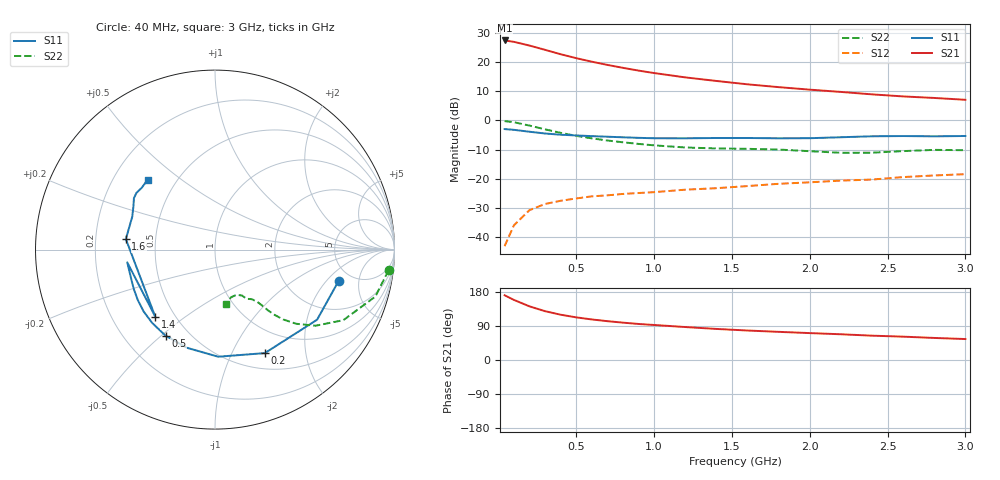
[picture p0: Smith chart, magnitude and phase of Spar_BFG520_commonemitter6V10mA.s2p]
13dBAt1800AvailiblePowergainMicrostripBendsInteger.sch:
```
<Qucs Schematic 0.0.20>
<Properties>
  <View=-46,-120,1759,920,0.898136,0,0>
  <Grid=10,10,1>
  <DataSet=13dBAt1800AvailiblePowergainMicrostripBendsInteger.dat>
  <DataDisplay=13dBAt1800AvailiblePowergainMicrostripBendsInteger.dpl>
  <OpenDisplay=1>
  <Script=13dBAt1800AvailiblePowergainMicrostripBendsInteger.m>
  <RunScript=0>
  <showFrame=0>
  <FrameText0=Title>
  <FrameText1=Drawn By:>
  <FrameText2=Date:>
  <FrameText3=Revision:>
</Properties>
<Symbol>
</Symbol>
<Components>
  <GND * 5 370 330 0 0 0 0>
  <SPfile X1 1 370 300 -26 -41 0 0 "/home/lasse/Documents/test M4/Spar_BFG520_commonemitter6V10mA.s2p" 0 "rectangular" 0 "linear" 0 "open" 0 "2" 0>
  <Eqn Eqn4 1 900 240 -31 19 0 0 "Delta=S[1,1]*S[2,2]-S[1,2]*S[2,1]" 1 "yes" 0>
  <Eqn Sparam1 1 300 10 -30 16 0 0 "S12dB=dB(S[1,2])" 1 "S12=(S[1,2])" 1 "S11dB=dB(S[1,1])" 1 "S11=(S[1,1])" 1 "S21dB=dB(S[2,1])" 1 "S21=(S[2,1])" 1 "S22dB=dB(S[2,2])" 1 "S22=(S[2,2])" 1 "yes" 0>
  <GND * 5 710 420 0 0 0 0>
  <Pac P2 1 710 340 18 -26 0 1 "2" 1 "50 Ohm" 1 "0 dBm" 0 "1 GHz" 0 "26.85" 0>
  <Pac P1 1 10 340 18 -26 0 1 "1" 1 "50 Ohm" 1 "0 dBm" 0 "1 GHz" 0 "26.85" 0>
  <GND * 5 10 410 0 0 0 0>
  <Eqn Eqn1 1 40 10 -31 19 0 0 "K=Rollet(S)" 1 "yes" 0>
  <MLIN MS1 1 40 150 -26 15 0 0 "Subst1" 1 "3 mm" 1 "8 mm" 1 "Hammerstad" 0 "Kirschning" 0 "26.85" 0>
  <MTEE MS5 1 150 298 -26 15 0 2 "Subst1" 1 "3 mm" 1 "3 mm" 1 "3 mm" 1 "Hammerstad" 0 "Kirschning" 0 "26.85" 0 "showNumbers" 0>
  <MLIN MS3 1 270 300 -26 15 0 0 "Subst1" 1 "3 mm" 1 "8 mm" 1 "Hammerstad" 0 "Kirschning" 0 "26.85" 0>
  <MLIN MS4 1 470 300 -26 15 0 0 "Subst1" 1 "3 mm" 1 "24 mm" 1 "Hammerstad" 0 "Kirschning" 0 "26.85" 0>
  <MTEE MS6 1 590 298 -26 15 0 2 "Subst1" 1 "3 mm" 1 "3 mm" 1 "3 mm" 1 "Hammerstad" 0 "Kirschning" 0 "26.85" 0 "showNumbers" 0>
  <MLIN MS2 1 690 140 -26 15 0 0 "Subst1" 1 "3 mm" 1 "11 mm" 1 "Hammerstad" 0 "Kirschning" 0 "26.85" 0>
  <Eqn Eqn5 1 1270 700 -31 19 0 0 "absDelta=abs(S[1,1]*S[2,2]-S[1,2]*S[2,1])" 1 "GammaOutdB=dB(abs(Gamma_Out))" 1 "yes" 0>
  <Eqn Eqn6 1 1290 630 -31 19 0 0 "GammaL=(B2-sqrt(B2^-4*abs(C2)^2))/(2*C2)" 1 "yes" 0>
  <Eqn Eqn3 1 870 360 -31 19 0 0 "B1=1+abs(S[1,1])^2-abs(S[2,2]-abs(Delta)^2)" 1 "B2=1+abs(S[2,2])^2-abs(S[1,1]-abs(Delta)^2)" 1 "C1=S[1,1]-Delta*conj(S[2,2])" 1 "C2=S[2,2]-Delta*conj(S[1,1])" 1 "GammaS=(B1-sqrt(B1^-4*abs(C1)^2))/(2*C1)" 1 "yes" 0>
  <SUBST Subst1 1 1480 460 -30 24 0 0 "4.4" 1 "1.6 mm" 1 "35 um" 1 "0.0018" 1 "0.022e-6" 1 "0.15e-6" 1>
  <Eqn Eqn8 1 1220 280 -31 19 0 0 "y=1" 1 "phase_GammaOut=phase(Gamma_Out)" 1 "phase_GammaIn=phase(Gamma_In)" 1 "phase_GammaS=phase(GammaS)" 1 "phase_GammaL=phase(GammaL)" 1 "yes" 0>
  <Eqn Eqn2 1 1020 180 -31 19 0 0 "GT=dB((abs(S[2,1])/abs(S[1,2]))*(K-sqrt(K^2-1)))" 1 "yes" 0>
  <Eqn Eqn7 1 1170 120 -31 19 0 0 "Gamma_Out=S[2,2]+S[1,2]*S[2,1]*GammaS/(1-S[2,2]*GammaS)" 1 "Gamma_In=S[1,1]+S[1,2]*S[2,1]*GammaL/(1-S[1,1]*GammaL)" 1 "yes" 0>
  <.SP SP1 1 430 10 0 81 0 0 "lin" 1 "40 MHz" 1 "3 GHz" 1 "21" 1 "yes" 0 "1" 1 "2" 0 "no" 0 "no" 0>
</Components>
<Wires>
  <300 300 340 300 "" 0 0 0 "">
  <710 370 710 420 "" 0 0 0 "">
  <400 300 440 300 "" 0 0 0 "">
  <10 370 10 410 "" 0 0 0 "">
  <10 310 10 340 "" 0 0 0 "">
  <10 300 10 310 "" 0 0 0 "">
  <10 300 120 300 "" 0 0 0 "">
  <120 298 120 300 "" 0 0 0 "">
  <180 300 240 300 "" 0 0 0 "">
  <180 298 180 300 "" 0 0 0 "">
  <560 298 560 300 "" 0 0 0 "">
  <500 300 560 300 "" 0 0 0 "">
  <620 298 620 300 "" 0 0 0 "">
  <710 310 710 340 "" 0 0 0 "">
  <710 300 710 310 "" 0 0 0 "">
  <620 300 710 300 "" 0 0 0 "">
  <590 140 660 140 "" 0 0 0 "">
  <590 140 590 268 "" 0 0 0 "">
  <150 150 150 268 "" 0 0 0 "">
  <70 150 150 150 "" 0 0 0 "">
  <590 268 590 270 "" 0 0 0 "">
</Wires>
<Diagrams>
  <Rect 100 700 240 160 3 #c0c0c0 1 00 1 0 1e+09 5e+09 1 -22.4075 20 20 1 -1 1 1 315 0 225 "" "" "" "">
	<"S11dB" #0000ff 0 3 0 0 0>
	  <Mkr 1.964e+09 -119 -238 3 0 0>
	<"S22dB" #ff0000 0 3 0 0 0>
	<"S21dB" #ff00ff 0 3 0 0 0>
	  <Mkr 1.964e+09 -90 42 3 0 0>
  </Rect>
  <Rect 820 710 240 160 3 #c0c0c0 1 00 1 1.75e+09 2e+07 1.85e+09 1 -100 100 100 1 -1 1 1 315 0 225 "" "" "" "">
	<"phase_GammaL" #ff0000 0 3 0 0 0>
	  <Mkr 1.964e+09 -10 80 3 0 0>
	<"phase_GammaOut" #ff00ff 0 3 0 0 0>
	  <Mkr 1.964e+09 190 81 3 0 0>
  </Rect>
  <Rect 427 695 240 160 3 #c0c0c0 1 00 1 1.75e+09 2e+07 1.85e+09 1 -11.6386 5 1.77023 1 -1 1 1 315 0 225 "" "" "" "">
	<"phase_GammaIn" #ff00ff 0 3 0 0 0>
	  <Mkr 1.964e+09 140 79 3 0 0>
	<"phase_GammaS" #ffff00 0 3 0 0 0>
	  <Mkr 1.964e+09 -70 77 3 0 0>
  </Rect>
  <Rect 790 120 240 160 3 #c0c0c0 1 00 1 0 0.2 1 1 -0.1 0.5 1.1 1 -0.1 0.5 1.1 315 0 225 "" "" "" "">
	<"F" #0000ff 0 3 0 0 0>
	  <Mkr 1.964e+09 -217 -182 3 0 0>
	<"Fmin" #ff0000 0 3 0 0 0>
	  <Mkr 1.964e+09 -217 -57 3 0 0>
	  <Mkr 1.964e+09 270 -93 3 0 0>
  </Rect>
  <Rect 1280 60 240 160 3 #c0c0c0 1 00 1 1.5e+09 5e+08 3e+09 1 0.302595 0.5 1.5 1 -1 1 1 315 0 225 "" "" "" "">
	<"K" #0000ff 0 3 0 0 0>
	<"absDelta" #ff0000 0 3 0 0 0>
	<"K" #ff00ff 0 3 0 0 0>
  </Rect>
</Diagrams>
<Paintings>
</Paintings>
```
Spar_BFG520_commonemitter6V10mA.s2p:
! Filename:  BFG520I.S2P  Version:  2.1
! NXP part #: BFG520  Date: Feb 1992
! Bias condition: Vce=6V, Ic=10mA
! IN LINE PINNING: same data as with cross emitter pinning.
#  MHz  S  MA  R  50
! Freq  S11  S21  S12  S22  !GUM [dB]
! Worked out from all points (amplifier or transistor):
!   21 points, 40 MHz to 3 GHz, reference 50 ohm
!   highest |S21| = 27.4 dB at 40 MHz (marker M1)
!   |S21| within 3 dB of that: start of sweep to 285.2 MHz
!   unconditionally stable (mu >= 1): 1.301 GHz to end of sweep
!   at 300 MHz: K = 0.31, MSG = 26.4 dB, |S12| = -28.6 dB
!   at 1 GHz: K = 0.86, MSG = 20.4 dB, |S12| = -24.6 dB
!   at 3 GHz: K = 1.24, MAG = 9.8 dB, |S12| = -18.4 dB
!   lowest NFmin = 1.10 dB at 500 MHz
!   S11 on the Smith chart (normalised r, x): 40 MHz: 3.91, -2.74; 200 MHz: 0.69, -1.35; 500 MHz: 0.37, -0.52; 1.4 GHz: 0.39, -0.39; 1.6 GHz: 0.33, +0.05; 3 GHz: 0.35, +0.38
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40  0.711 -14.1  23.47 170.8  0.007 82.3  0.974 -6.8
100  0.69 -34.5  22.22 158.5  0.016 74.0  0.931 -16.3
200  0.64 -64.3  19.18 141.5  0.029 62.4  0.816 -28.8
300  0.597 -88.3  16.21 128.8  0.037 54.2  0.703 -37.1
400  0.569 -106.1  13.63 119.5  0.042 50.9  0.613 -42.4
500  0.553 -119.9  11.67 112.5  0.046 48.6  0.544 -45.7
600  0.538 -130.7  10.15 107.0  0.05 47.2  0.493 -47.6
800  0.514 -146.7  7.968 98.6  0.055 47.9  0.422 -49.5
1400  0.5 -131.8  4.748 82.0  0.069 52.5  0.331 -56.1
1600  0.5 173.3  4.159 77.8  0.075 55.2  0.326 -57.3
3000  0.541 133.9  2.259 55.3  0.12 62.3  0.309 -78.3
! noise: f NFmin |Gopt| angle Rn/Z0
500  1.1  0.33  27  0.25
900  1.25  0.294  48  0.26
1000  1.3  0.298  52  0.27
2000  1.9  0.242  134  0.16
